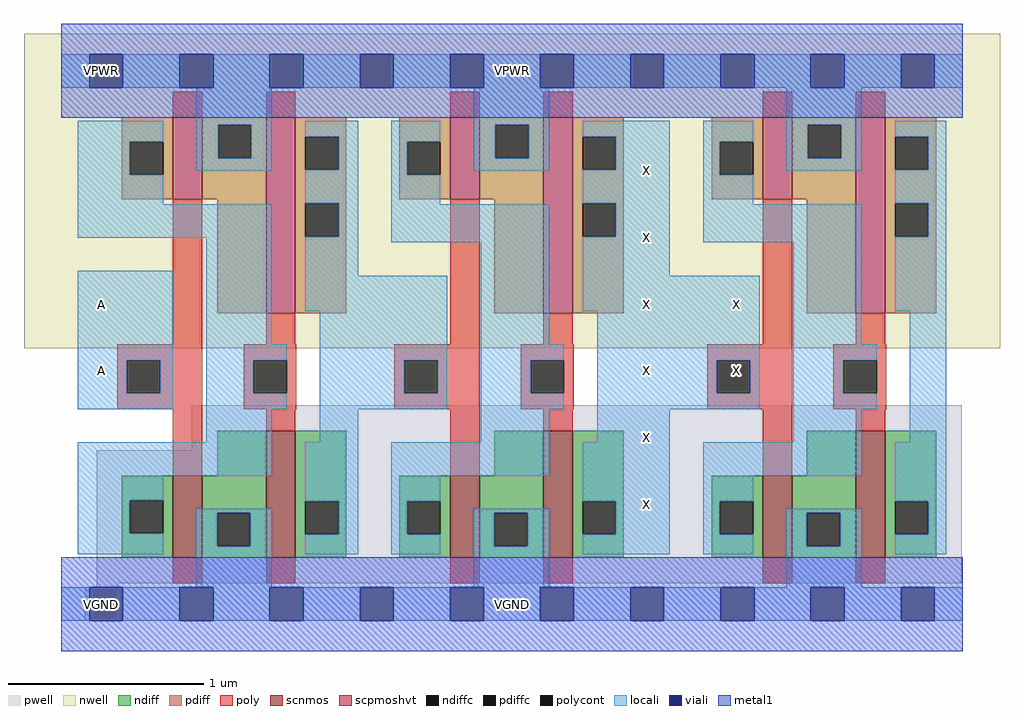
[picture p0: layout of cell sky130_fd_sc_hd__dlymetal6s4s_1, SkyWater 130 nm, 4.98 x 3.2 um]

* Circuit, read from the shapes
.subckt sky130_fd_sc_hd__dlymetal6s4s_1 A VGND VNB VPB VPWR X
XM1 VGND A n1 VNB sky130_fd_pr__nfet_01v8 w=0.42 l=0.15
XM2 n2 n1 VGND VNB sky130_fd_pr__nfet_01v8 w=0.65 l=0.15
XM3 VGND n2 n3 VNB sky130_fd_pr__nfet_01v8 w=0.42 l=0.15
XM4 X n3 VGND VNB sky130_fd_pr__nfet_01v8 w=0.65 l=0.15
XM5 VGND X n4 VNB sky130_fd_pr__nfet_01v8 w=0.42 l=0.15
XM6 n5 n4 VGND VNB sky130_fd_pr__nfet_01v8 w=0.65 l=0.15
XM7 VPWR A n1 VPB sky130_fd_pr__pfet_01v8_hvt w=0.42 l=0.15
XM8 n2 n1 VPWR VPB sky130_fd_pr__pfet_01v8_hvt w=1 l=0.15
XM9 VPWR n2 n3 VPB sky130_fd_pr__pfet_01v8_hvt w=0.42 l=0.15
XM10 X n3 VPWR VPB sky130_fd_pr__pfet_01v8_hvt w=1 l=0.15
XM11 VPWR X n4 VPB sky130_fd_pr__pfet_01v8_hvt w=0.42 l=0.15
XM12 n5 n4 VPWR VPB sky130_fd_pr__pfet_01v8_hvt w=1 l=0.15
.ends

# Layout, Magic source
magic
tech sky130B
magscale 1 2
<< nwell >>
rect -38 261 958 582
<< pwell >>
rect 133 157 919 203
rect 36 21 919 157
rect 36 17 58 21
rect 24 -17 58 17
<< scnmos >>
rect 114 47 144 131
rect 209 47 239 177
rect 397 47 427 131
rect 492 47 522 177
rect 716 47 746 131
rect 811 47 841 177
<< scpmoshvt >>
rect 114 413 144 497
rect 209 297 239 497
rect 397 413 427 497
rect 492 297 522 497
rect 716 413 746 497
rect 811 297 841 497
<< ndiff >>
rect 159 131 209 177
rect 62 106 114 131
rect 62 72 70 106
rect 104 72 114 106
rect 62 47 114 72
rect 144 93 209 131
rect 144 59 159 93
rect 193 59 209 93
rect 144 47 209 59
rect 239 105 291 177
rect 442 131 492 177
rect 239 71 249 105
rect 283 71 291 105
rect 239 47 291 71
rect 345 105 397 131
rect 345 71 353 105
rect 387 71 397 105
rect 345 47 397 71
rect 427 93 492 131
rect 427 59 442 93
rect 476 59 492 93
rect 427 47 492 59
rect 522 105 574 177
rect 761 131 811 177
rect 522 71 532 105
rect 566 71 574 105
rect 522 47 574 71
rect 664 105 716 131
rect 664 71 672 105
rect 706 71 716 105
rect 664 47 716 71
rect 746 93 811 131
rect 746 59 761 93
rect 795 59 811 93
rect 746 47 811 59
rect 841 105 893 177
rect 841 71 851 105
rect 885 71 893 105
rect 841 47 893 71
<< pdiff >>
rect 62 472 114 497
rect 62 438 70 472
rect 104 438 114 472
rect 62 413 114 438
rect 144 489 209 497
rect 144 455 160 489
rect 194 455 209 489
rect 144 413 209 455
rect 159 297 209 413
rect 239 477 291 497
rect 239 443 249 477
rect 283 443 291 477
rect 239 409 291 443
rect 345 472 397 497
rect 345 438 353 472
rect 387 438 397 472
rect 345 413 397 438
rect 427 489 492 497
rect 427 455 443 489
rect 477 455 492 489
rect 427 413 492 455
rect 239 375 249 409
rect 283 375 291 409
rect 239 297 291 375
rect 442 297 492 413
rect 522 477 574 497
rect 522 443 532 477
rect 566 443 574 477
rect 522 409 574 443
rect 664 472 716 497
rect 664 438 672 472
rect 706 438 716 472
rect 664 413 716 438
rect 746 489 811 497
rect 746 455 762 489
rect 796 455 811 489
rect 746 413 811 455
rect 522 375 532 409
rect 566 375 574 409
rect 522 297 574 375
rect 761 297 811 413
rect 841 477 893 497
rect 841 443 851 477
rect 885 443 893 477
rect 841 409 893 443
rect 841 375 851 409
rect 885 375 893 409
rect 841 297 893 375
<< ndiffc >>
rect 70 72 104 106
rect 159 59 193 93
rect 249 71 283 105
rect 353 71 387 105
rect 442 59 476 93
rect 532 71 566 105
rect 672 71 706 105
rect 761 59 795 93
rect 851 71 885 105
<< pdiffc >>
rect 70 438 104 472
rect 160 455 194 489
rect 249 443 283 477
rect 353 438 387 472
rect 443 455 477 489
rect 249 375 283 409
rect 532 443 566 477
rect 672 438 706 472
rect 762 455 796 489
rect 532 375 566 409
rect 851 443 885 477
rect 851 375 885 409
<< poly >>
rect 114 497 144 523
rect 209 497 239 523
rect 397 497 427 523
rect 492 497 522 523
rect 716 497 746 523
rect 811 497 841 523
rect 114 265 144 413
rect 209 265 239 297
rect 397 265 427 413
rect 492 265 522 297
rect 716 265 746 413
rect 811 265 841 297
rect 57 249 144 265
rect 57 215 67 249
rect 101 215 144 249
rect 57 199 144 215
rect 186 249 240 265
rect 186 215 196 249
rect 230 215 240 249
rect 186 199 240 215
rect 340 249 427 265
rect 340 215 350 249
rect 384 215 427 249
rect 340 199 427 215
rect 469 249 523 265
rect 469 215 479 249
rect 513 215 523 249
rect 469 199 523 215
rect 659 249 746 265
rect 659 215 669 249
rect 703 215 746 249
rect 659 199 746 215
rect 788 249 842 265
rect 788 215 798 249
rect 832 215 842 249
rect 788 199 842 215
rect 114 131 144 199
rect 209 177 239 199
rect 397 131 427 199
rect 492 177 522 199
rect 716 131 746 199
rect 811 177 841 199
rect 114 21 144 47
rect 209 21 239 47
rect 397 21 427 47
rect 492 21 522 47
rect 716 21 746 47
rect 811 21 841 47
<< polycont >>
rect 67 215 101 249
rect 196 215 230 249
rect 350 215 384 249
rect 479 215 513 249
rect 669 215 703 249
rect 798 215 832 249
<< locali >>
rect 0 527 29 561
rect 63 527 121 561
rect 155 527 213 561
rect 247 527 305 561
rect 339 527 397 561
rect 431 527 489 561
rect 523 527 581 561
rect 615 527 673 561
rect 707 527 765 561
rect 799 527 857 561
rect 891 527 920 561
rect 17 472 104 493
rect 17 438 70 472
rect 138 489 215 527
rect 138 455 160 489
rect 194 455 215 489
rect 138 442 215 455
rect 249 477 303 493
rect 283 443 303 477
rect 17 408 104 438
rect 249 409 303 443
rect 17 374 215 408
rect 17 249 114 340
rect 17 215 67 249
rect 101 215 114 249
rect 17 199 114 215
rect 148 265 215 374
rect 283 375 303 409
rect 249 335 303 375
rect 337 472 387 493
rect 337 438 353 472
rect 421 489 498 527
rect 421 455 443 489
rect 477 455 498 489
rect 421 442 498 455
rect 532 477 621 493
rect 566 443 621 477
rect 337 408 387 438
rect 532 409 621 443
rect 337 369 498 408
rect 249 299 394 335
rect 148 249 230 265
rect 148 215 196 249
rect 148 199 230 215
rect 264 249 394 299
rect 264 215 350 249
rect 384 215 394 249
rect 264 199 394 215
rect 428 265 498 369
rect 566 375 621 409
rect 532 335 621 375
rect 655 472 706 493
rect 655 438 672 472
rect 740 489 817 527
rect 740 455 762 489
rect 796 455 817 489
rect 740 442 817 455
rect 851 477 903 493
rect 885 443 903 477
rect 655 408 706 438
rect 851 409 903 443
rect 655 369 817 408
rect 532 299 713 335
rect 428 249 513 265
rect 428 215 479 249
rect 428 199 513 215
rect 547 249 713 299
rect 547 215 669 249
rect 703 215 713 249
rect 547 199 713 215
rect 747 265 817 369
rect 885 375 903 409
rect 851 299 903 375
rect 747 249 832 265
rect 747 215 798 249
rect 747 199 832 215
rect 148 165 215 199
rect 264 165 303 199
rect 428 165 498 199
rect 547 165 621 199
rect 747 165 817 199
rect 866 165 903 299
rect 17 131 215 165
rect 17 106 104 131
rect 17 72 70 106
rect 249 105 303 165
rect 17 51 104 72
rect 138 93 215 97
rect 138 59 159 93
rect 193 59 215 93
rect 138 17 215 59
rect 283 71 303 105
rect 249 51 303 71
rect 337 131 498 165
rect 337 105 387 131
rect 337 71 353 105
rect 532 105 621 165
rect 337 51 387 71
rect 421 93 498 97
rect 421 59 442 93
rect 476 59 498 93
rect 421 17 498 59
rect 566 71 621 105
rect 532 51 621 71
rect 655 131 817 165
rect 655 105 706 131
rect 655 71 672 105
rect 851 105 903 165
rect 655 51 706 71
rect 740 93 817 97
rect 740 59 761 93
rect 795 59 817 93
rect 740 17 817 59
rect 885 71 903 105
rect 851 51 903 71
rect 0 -17 29 17
rect 63 -17 121 17
rect 155 -17 213 17
rect 247 -17 305 17
rect 339 -17 397 17
rect 431 -17 489 17
rect 523 -17 581 17
rect 615 -17 673 17
rect 707 -17 765 17
rect 799 -17 857 17
rect 891 -17 920 17
<< viali >>
rect 29 527 63 561
rect 121 527 155 561
rect 213 527 247 561
rect 305 527 339 561
rect 397 527 431 561
rect 489 527 523 561
rect 581 527 615 561
rect 673 527 707 561
rect 765 527 799 561
rect 857 527 891 561
rect 29 -17 63 17
rect 121 -17 155 17
rect 213 -17 247 17
rect 305 -17 339 17
rect 397 -17 431 17
rect 489 -17 523 17
rect 581 -17 615 17
rect 673 -17 707 17
rect 765 -17 799 17
rect 857 -17 891 17
<< metal1 >>
rect 0 561 920 592
rect 0 527 29 561
rect 63 527 121 561
rect 155 527 213 561
rect 247 527 305 561
rect 339 527 397 561
rect 431 527 489 561
rect 523 527 581 561
rect 615 527 673 561
rect 707 527 765 561
rect 799 527 857 561
rect 891 527 920 561
rect 0 496 920 527
rect 0 17 920 48
rect 0 -17 29 17
rect 63 -17 121 17
rect 155 -17 213 17
rect 247 -17 305 17
rect 339 -17 397 17
rect 431 -17 489 17
rect 523 -17 581 17
rect 615 -17 673 17
rect 707 -17 765 17
rect 799 -17 857 17
rect 891 -17 920 17
rect 0 -48 920 -17
<< labels >>
flabel metal1 s 24 527 58 561 0 FreeSans 200 0 0 0 VPWR
port 5 nsew power bidirectional abutment
flabel metal1 s 24 -17 58 17 0 FreeSans 200 0 0 0 VGND
port 2 nsew ground bidirectional abutment
flabel nwell s 24 527 58 561 0 FreeSans 200 0 0 0 VPB
port 4 nsew power bidirectional
flabel pwell s 24 -17 58 17 0 FreeSans 200 0 0 0 VNB
port 3 nsew ground bidirectional
flabel locali s 24 221 58 255 0 FreeSans 200 0 0 0 A
port 1 nsew signal input
flabel locali s 580 289 614 323 0 FreeSans 200 0 0 0 X
port 6 nsew signal output
flabel locali s 24 289 58 323 0 FreeSans 200 0 0 0 A
port 1 nsew signal input
flabel locali s 580 357 614 391 0 FreeSans 200 0 0 0 X
port 6 nsew signal output
flabel locali s 580 425 614 459 0 FreeSans 200 0 0 0 X
port 6 nsew signal output
flabel locali s 580 221 614 255 0 FreeSans 200 0 0 0 X
port 6 nsew signal output
flabel locali s 580 153 614 187 0 FreeSans 200 0 0 0 X
port 6 nsew signal output
flabel locali s 580 85 614 119 0 FreeSans 200 0 0 0 X
port 6 nsew signal output
flabel locali s 672 221 706 255 0 FreeSans 200 0 0 0 X
port 6 nsew signal output
flabel locali s 672 289 706 323 0 FreeSans 200 0 0 0 X
port 6 nsew signal output
rlabel comment s 0 0 0 0 4 dlymetal6s4s_1
rlabel metal1 s 0 -48 920 48 1 VGND
port 2 nsew ground bidirectional abutment
rlabel metal1 s 0 496 920 592 1 VPWR
port 5 nsew power bidirectional abutment
<< properties >>
string FIXED_BBOX 0 0 920 544
string GDS_END 2909810
string GDS_FILE $PDKPATH/libs.ref/sky130_fd_sc_hd/gds/sky130_fd_sc_hd.gds
string GDS_START 2902034
string LEFclass CORE
string LEFsite unithd
string LEFsymmetry X Y R90
string path 0.000 13.600 23.000 13.600 
<< end >>
